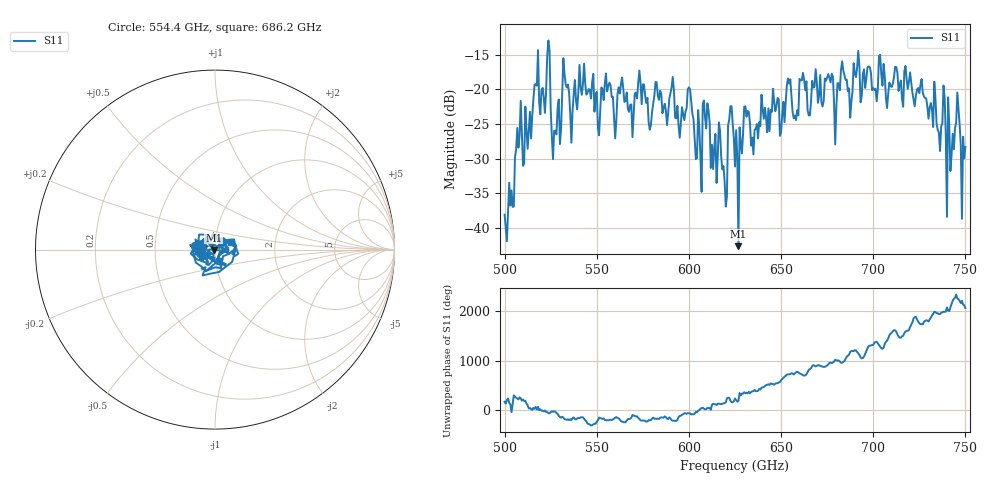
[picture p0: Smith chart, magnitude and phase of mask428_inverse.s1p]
!Created with skrf (http://scikit-rf.org).
# GHz S MA R 50.0
!freq magS11 angS11
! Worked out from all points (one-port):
!   401 points, 500 GHz to 750 GHz, reference 50 ohm
!   lowest |S11| = -42.7 dB at 626.9 GHz (marker M1), VSWR 1.01, Z = 49.3 - j0.185 ohm
!   |S11| at or under -10 dB: start of sweep to end of sweep
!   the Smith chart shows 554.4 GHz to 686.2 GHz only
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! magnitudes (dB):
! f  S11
! 500 GHz  -38.1
! 507.5 GHz  -28.4
! 511.2 GHz  -22.5
! 516.9 GHz  -19.2
! 523.8 GHz  -12.9
! 526.9 GHz  -26.0
! 531.2 GHz  -20.5
! 562.5 GHz  -20.6
! 579.4 GHz  -25.2
! 590.6 GHz  -19.7
! 593.8 GHz  -22.4
! 600.6 GHz  -20.0
! 605.6 GHz  -25.4
! 609.4 GHz  -25.7
! 619.4 GHz  -33.3
! 622.5 GHz  -22.4
! 625 GHz  -31.2
! 626.9 GHz  -42.7
! 631.2 GHz  -23.9
! 635 GHz  -29.4
! 656.2 GHz  -23.3
! 676.9 GHz  -19.0
! 680 GHz  -22.5
! 683.8 GHz  -17.2
! 687.5 GHz  -24.1
! 690.6 GHz  -18.2
! 718.8 GHz  -19.9
! 750 GHz  -28.3
